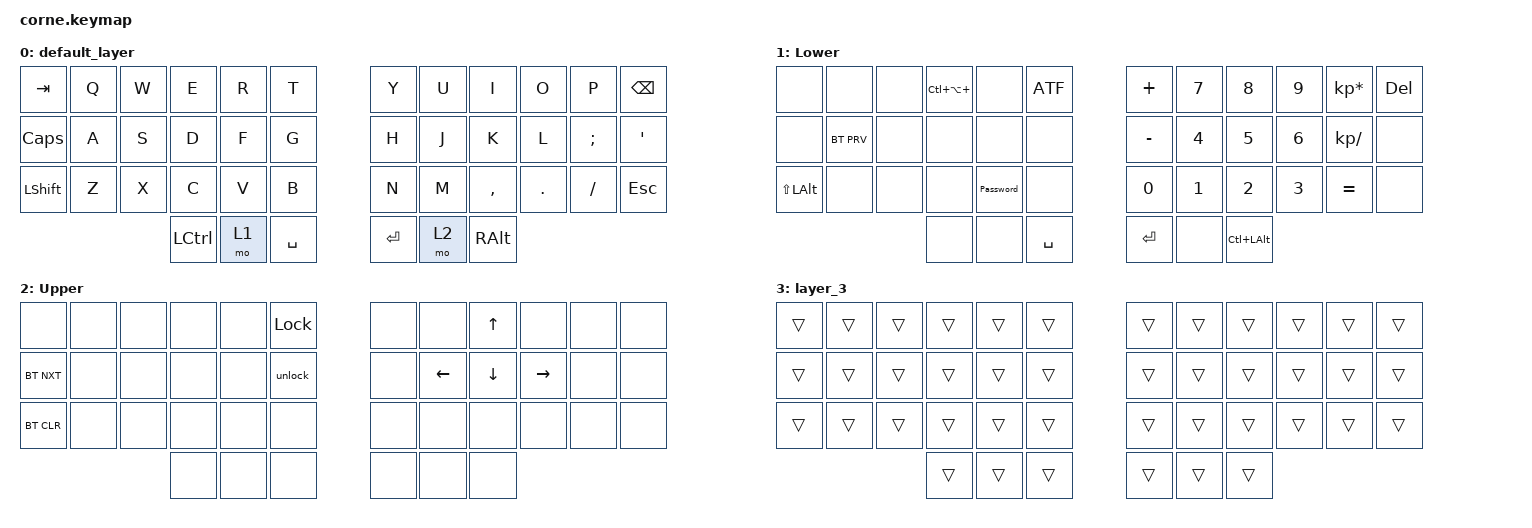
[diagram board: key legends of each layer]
/*
 * Copyright (c) 2020 The ZMK Contributors
 *
 * SPDX-License-Identifier: MIT
 */

#include <behaviors.dtsi>
#include <dt-bindings/zmk/bt.h>
#include <dt-bindings/zmk/keys.h>

/ {
    macros {
        ATF: ATF {
            compatible = "zmk,behavior-macro";
            #binding-cells = <0>;
            bindings = <&kp LS(A) &kp LS(F) &kp LS(T) &kp LS(E) &kp LS(A) &kp LS(T) &kp LS(F) &kp RET &kp LS(I) &kp N &kp V &kp O &kp I &kp C &kp E &kp COLON>;
            label = "ATF";
        };

        Password: Password {
            compatible = "zmk,behavior-macro";
            #binding-cells = <0>;
            bindings = <&kp LS(E) &kp L &kp E &kp N &kp AT &kp LS(C) &kp A &kp R &kp L &kp N0 &kp S &kp N1 &kp N1 &kp N1 &kp N0>;
            label = "PASSWORD";
        };

        Lock: Lock {
            compatible = "zmk,behavior-macro";
            #binding-cells = <0>;
            bindings = <&kp LG(L) &kp KP_ENTER>;
            label = "LOCK";
        };

        unlock: unlock {
            compatible = "zmk,behavior-macro";
            #binding-cells = <0>;
            bindings = <&sk LC(LA(DELETE))>;
            label = "UNLOCK";
        };
    };

    keymap {
        compatible = "zmk,keymap";

        default_layer {
            // -----------------------------------------------------------------------------------------
            // |  TAB |  Q  |  W  |  E  |  R  |  T  |   |  Y  |  U   |  I  |  O  |  P  | BSPC |
            // | CTRL |  A  |  S  |  D  |  F  |  G  |   |  H  |  J   |  K  |  L  |  ;  |  '   |
            // | SHFT |  Z  |  X  |  C  |  V  |  B  |   |  N  |  M   |  ,  |  .  |  /  | ESC  |
            //                    | GUI | LWR | SPC |   | ENT | RSE  | ALT |

            bindings = <
&kp TAB    &kp Q  &kp W  &kp E             &kp R  &kp T        &kp Y    &kp U  &kp I      &kp O    &kp P     &kp BSPC
&kp CLCK   &kp A  &kp S  &kp D             &kp F  &kp G        &kp H    &kp J  &kp K      &kp L    &kp SEMI  &kp SQT
&kp LSHFT  &kp Z  &kp X  &kp C             &kp V  &kp B        &kp N    &kp M  &kp COMMA  &kp DOT  &kp FSLH  &kp ESC
                         &kp LEFT_CONTROL  &mo 1  &kp SPACE    &kp RET  &mo 2  &kp RALT
            >;
        };

        Lower {
            bindings = <
&none         &none       &none  &kp LC(LA(PLUS))  &none      &ATF         &kp PLUS   &kp N7  &kp N8            &kp N9  &kp KP_MULTIPLY  &kp DEL
&none         &bt BT_PRV  &none  &none             &none      &none        &kp MINUS  &kp N4  &kp N5            &kp N6  &kp KP_DIVIDE    &none
&kp LS(LALT)  &none       &none  &none             &Password  &none        &kp N0     &kp N1  &kp N2            &kp N3  &kp EQUAL        &none
                                 &none             &none      &kp SPACE    &kp ENTER  &none   &kp LC(LEFT_ALT)
            >;
        };

        Upper {
            bindings = <
&none       &none  &none  &none  &none  &Lock      &none  &none           &kp UP_ARROW  &none      &none  &none
&bt BT_NXT  &none  &none  &none  &none  &unlock    &none  &kp LEFT_ARROW  &kp DOWN      &kp RIGHT  &none  &none
&bt BT_CLR  &none  &none  &none  &none  &none      &none  &none           &none         &none      &none  &none
                          &none  &none  &none      &none  &none           &none
            >;
        };

        layer_3 {
            bindings = <
&trans  &trans  &trans  &trans  &trans  &trans    &trans  &trans  &trans  &trans  &trans  &trans
&trans  &trans  &trans  &trans  &trans  &trans    &trans  &trans  &trans  &trans  &trans  &trans
&trans  &trans  &trans  &trans  &trans  &trans    &trans  &trans  &trans  &trans  &trans  &trans
                        &trans  &trans  &trans    &trans  &trans  &trans
            >;
        };
    };
};
